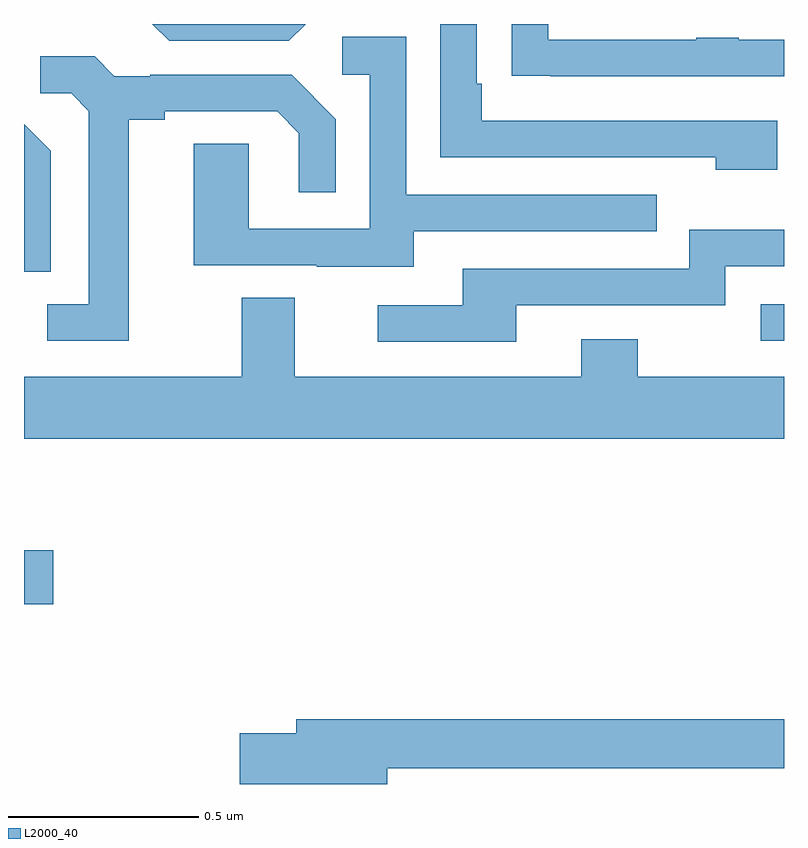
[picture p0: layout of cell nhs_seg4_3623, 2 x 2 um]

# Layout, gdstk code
import gdstk
lib = gdstk.Library(unit=1e-6, precision=1e-09)
def R(c, l, rs):  # rectangles x0, y0, x1, y1
    for r in rs: c.add(gdstk.rectangle(r[:2], r[2:], *l))
def P(c, l, *ps):  # polygons
    for p in ps: c.add(gdstk.Polygon(p, *l))
L2000_40 = (2000, 40)

nhs_seg4_3623 = lib.new_cell('nhs_seg4_3623')
R(nhs_seg4_3623, L2000_40, [(155,808.373,155.077,808.515), (156.939,809.067,157,809.163)])
P(nhs_seg4_3623, L2000_40, [(157,809.859),(156.881,809.859),(156.881,809.864),(156.769,809.864),(156.769,809.859),(156.379,809.859),(156.379,809.9),(156.283,809.9),(156.283,809.764),(156.385,809.764),(156.385,809.763),(157,809.763)],
  [(155.741,809.9),(155.338,809.9),(155.382,809.856),(155.697,809.856)],
  [(156.982,809.646),(156.205,809.646),(156.205,809.743),(156.192,809.743),(156.192,809.9),(156.096,809.9),(156.096,809.55),(156.821,809.55),(156.821,809.516),(156.982,809.516)],
  [(156.025,809.355),(156.665,809.355),(156.665,809.451),(156.006,809.451),(156.006,809.867),(155.838,809.867),(155.838,809.766),(155.91,809.766),(155.91,809.361),(155.592,809.361),(155.592,809.585),(155.447,809.585),(155.447,809.265),(155.771,809.265),(155.771,809.261),(156.025,809.261)],
  [(155.275,809.648),(155.371,809.648),(155.371,809.67),(155.666,809.67),(155.723,809.613),(155.723,809.457),(155.82,809.457),(155.82,809.65),(155.704,809.766),(155.332,809.766),(155.332,809.763),(155.238,809.763),(155.186,809.815),(155.043,809.815),(155.043,809.718),(155.124,809.718),(155.171,809.671),(155.171,809.163),(155.061,809.163),(155.061,809.067),(155.275,809.067)],
  [(155.07,809.566),(155,809.636),(155,809.248),(155.07,809.248)],
  [(156.295,809.16),(156.846,809.16),(156.846,809.262),(157,809.262),(157,809.359),(156.75,809.359),(156.75,809.256),(156.155,809.256),(156.155,809.16),(155.931,809.16),(155.931,809.064),(156.295,809.064)],
  [(157,808.972),(156.615,808.972),(156.615,809.071),(156.467,809.071),(156.467,808.972),(155.713,808.972),(155.713,809.18),(155.573,809.18),(155.573,808.972),(155,808.972),(155,808.808),(157,808.808)],
  [(155.956,807.942),(157,807.942),(157,808.07),(155.717,808.07),(155.717,808.034),(155.568,808.034),(155.568,807.9),(155.956,807.9)])

lib.write_gds('nhs_seg4_3623.gds')
